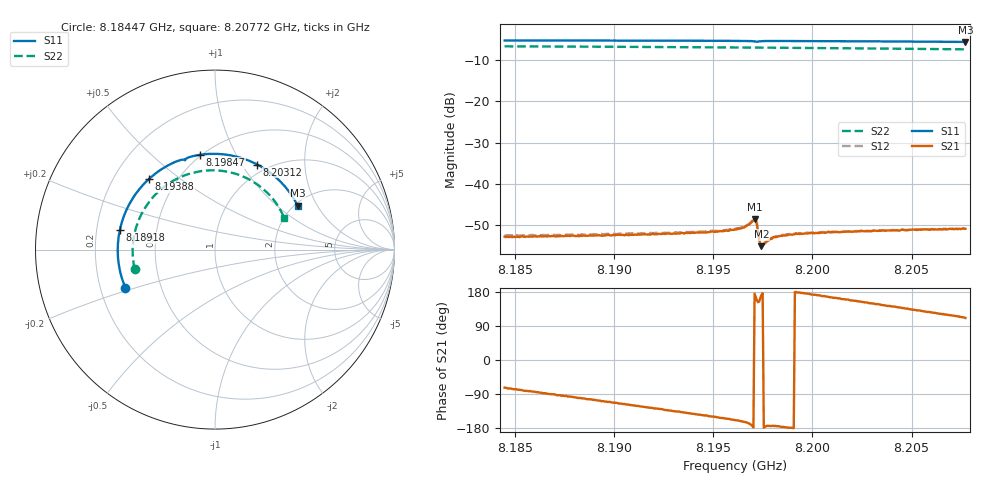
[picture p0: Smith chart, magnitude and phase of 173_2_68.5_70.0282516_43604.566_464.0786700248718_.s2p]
#  HZ  S  RI  R  50.00
! Rohde & Schwarz Vector Network Analyzer
! Rohde-Schwarz,ZNB20-2Port,1311601062101988,3.16
! Created: UTC 3/20/2024, 4:56:17 PM
! freq[Hz]  re:S11  im:S11  re:S21  im:S21  re:S12  im:S12  re:S22  im:S22
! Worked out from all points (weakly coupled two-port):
!   401 points, 8.18447 GHz to 8.20772 GHz, reference 50 ohm
!   highest |S21| = -48.58 dB at 8.19708 GHz (marker M1); lowest = -55.1 dB at 8.19743 GHz (marker M2)
!   lowest |S11| = -5.7 dB at 8.20772 GHz (marker M3), VSWR 3.18, Z = 104 + j69.8 ohm
!   |S11| at or under -10 dB: nowhere
!   |S22| runs from -7.5 to -6.7 dB; largest |S21 - S12| = 0.00021
!   S11 on the Smith chart (normalised r, x): 8.18447 GHz: 0.31, -0.19; 8.18918 GHz: 0.30, +0.09; 8.19388 GHz: 0.35, +0.39; 8.19847 GHz: 0.49, +0.73; 8.20312 GHz: 0.89, +1.17; 8.20772 GHz: 2.07, +1.40
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8.184467e9  -0.4992 -0.2131  0.000677 -0.0022  0.000643 -0.00228  -0.4481 -0.1078
8.186501e9  -0.5367 -0.0768  9.53e-05 -0.00233  2.63e-05 -0.0024  -0.4589 0.00434
8.188361e9  -0.5391 0.0529  -0.000452 -0.0023  -0.000527 -0.0024  -0.4445 0.1062
8.189175e9  -0.5302 0.1091  -0.000699 -0.00228  -0.000762 -0.00231  -0.431 0.1494
8.192256e9  -0.4448 0.3061  -0.00157 -0.00194  -0.00167 -0.00193  -0.343 0.2948
8.193883e9  -0.3696 0.3922  -0.00201 -0.00161  -0.0021 -0.00156  -0.2759 0.3557
8.196092e9  -0.2408 0.4798  -0.00261 -0.00102  -0.00272 -0.000943  -0.1677 0.4142
8.196615e9  -0.2056 0.4948  -0.00294 -0.000849  -0.00301 -0.000731  -0.1399 0.4237
8.197022e9  -0.1747 0.5013  -0.00361 -0.000119  -0.00368 3.21e-05  -0.1176 0.4294
8.19708e9  -0.1703 0.5002  -0.00371 0.000319  -0.00376 0.000452  -0.1144 0.4301
8.197138e9  -0.1674 0.4983  -0.00353 0.000848  -0.0036 0.00098  -0.1112 0.4308
8.19737e9  -0.1629 0.5051  -0.00178 0.000518  -0.00177 0.000631  -0.0987 0.4335
8.197429e9  -0.159 0.5079  -0.00175 0.000262  -0.00177 0.000357  -0.0956 0.4341
8.197545e9  -0.1507 0.5122  -0.00186 -3.41e-05  -0.0019 6.49e-05  -0.089 0.4353
8.19801e9  -0.1169 0.5221  -0.00224 -0.000256  -0.00227 -0.000135  -0.063 0.4391
8.198475e9  -0.0839 0.5281  -0.00235 -0.000146  -0.00241 -6.55e-05  -0.0369 0.4412
8.199986e9  0.023 0.5328  -0.00252 0.000332  -0.00255 0.000426  0.0487 0.4374
8.201497e9  0.1286 0.5157  -0.00247 0.000871  -0.00247 0.000989  0.132 0.4166
8.203125e9  0.2355 0.4739  -0.00232 0.00143  -0.00228 0.00148  0.2161 0.3762
8.20388e9  0.2817 0.4467  -0.00218 0.00165  -0.00212 0.00174  0.2518 0.3513
8.205856e9  0.387 0.3547  -0.00168 0.00223  -0.00165 0.00232  0.3326 0.2694
8.207716e9  0.4604 0.2449  -0.00102 0.00268  -0.000998 0.00271  0.3864 0.1743
